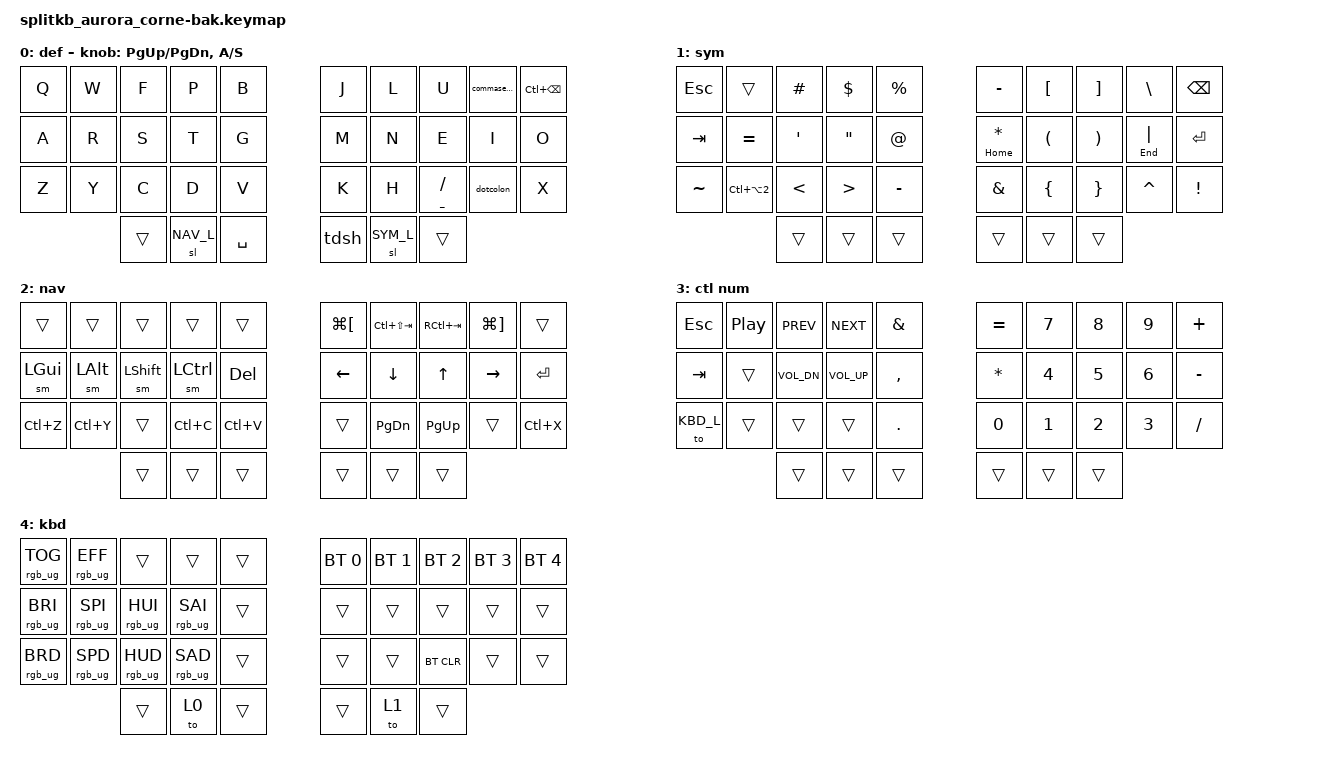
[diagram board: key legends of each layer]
/*
 * Copyright (c) 2020 The ZMK Contributors
 *
 * SPDX-License-Identifier: MIT
 */

#include <behaviors.dtsi>
#include <dt-bindings/zmk/keys.h>
#include <dt-bindings/zmk/bt.h>
#include <dt-bindings/zmk/rgb.h>

#define BASE_L 0
#define SYM_L 1
#define NAV_L 2
#define CTRL_NUM_L 3
#define KBD_L 4





/ {
	chosen {
		zmk,matrix_transform = &five_column_transform;
	};

    behaviors {
        dotcolon: dot_colon {
                      compatible = "zmk,behavior-mod-morph";
                      label = "DOT_COLON";
                      #binding-cells = <0>;
                      bindings = <&kp DOT>, <&kp COLON>;
                      mods = <(MOD_LSFT|MOD_RSFT)>;
        };

        commasemi: comma_semicolo {
                      compatible = "zmk,behavior-mod-morph";
                      label = "COMMA_SEMI";
                      #binding-cells = <0>;
                      bindings = <&kp COMMA>, <&kp SEMI>;
                      mods = <(MOD_LSFT|MOD_RSFT)>;
        };


        hm: homerow_mods {
                compatible = "zmk,behavior-hold-tap";
                label = "HOMEROW_MODS";
                #binding-cells = <2>;
                tapping-term-ms = <200>;
                quick_tap_ms = <0>;
                flavor = "tap-preferred";
                bindings = <&kp>, <&kp>;
        };

        td: tapdance {
                compatible = "zmk,behavior-hold-tap";
                label = "TAPDANCE";
                #binding-cells = <2>;
                tapping-term-ms = <150>;
                quick_tap_ms = <0>;
                flavor = "tap-preferred";
                bindings = <&kp>, <&kp>;
        };

        tdsh: shiftlock_tapdance {
                compatible = "zmk,behavior-tap-dance";
                label = "SHIFTLOCK_TAPDANCE";
                #binding-cells = <0>;
                tapping-term-ms = <130>;
                bindings = <&sk LSHIFT>, <&caps_word>;
        };

		sm: sticky_mod {
			compatible = "zmk,behavior-sticky-key";
			label = "STICK_MOD";
			#binding-cells = <1>;
			release-after-ms = <60000>;
			bindings = <&kp>;
			ignore-modifiers;
		};

        sl_nav: sl_nav {
            label = "SL_NAV";
            compatible = "zmk,behavior-macro";
            #binding-cells = <0>;
            wait-ms = <0>;
            tap-ms = <0>;
            bindings
                = <&macro_tap &kp K_CANCEL>
                , <&macro_press &sl NAV_L>
                , <&macro_pause_for_release>
                , <&macro_release &sl NAV_L>
                ;
        };
    };

	conditional_layers {
		compatible = "zmk,conditional-layers";

		// NAV_L and SYM_L needs to be lower than CTRL_NUM_L
		// "Since higher-numbered layers are processed first, a then-layer should
		// generally have a higher number than its associated if-layers so the
		// then-layer can be accessed when active."
		tri_layer {
			if-layers = <NAV_L SYM_L>;
			then-layer = <CTRL_NUM_L>;
		};
	};

	combos {
		compatible = "zmk,combos";

		/*		KEY POSITIONS SWEEP
		0	1	2	3	4		5	6	7	8	9
		10	11	12	13	14		15	16	17	18	19
		20	21	22	23	24		25	26	27	28	29
					30  31		32	33
		*/
		/*		KEY POSITIONS CORNE (6x3)
		0	1	2	3	4	5		6	7	8	9 	10	11
		12	13	14	15	16	17		18	19  20 	21	22	23
		24 	25	26	27	28	29		30	31	32	33	34	35
					30  31	32		33 	34	35
		*/

	};


	keymap {
			compatible = "zmk,keymap";

			default_layer {

					bindings = <
&kp Q &kp W &kp F &kp P &kp B /*|*/ &kp J &kp L &kp U 				  &commasemi &kp LC(BSPC)
&kp A &kp R &kp S &kp T &kp G /*|*/ &kp M &kp N &kp E 				  &kp I           &kp O
&kp Z &kp Y &kp C &kp D &kp V /*|*/ &kp K &kp H &td UNDERSCORE SLASH  &dotcolon       &kp X
	 &trans &sl NAV_L &kp SPC /*|*/ &tdsh &sl SYM_L &trans
					>;

					sensor-bindings = <&inc_dec_kp PAGE_UP PAGE_DOWN &inc_dec_kp A S>;
					label = " def";
			};

			symbol_layer {
					bindings = <
&kp ESC   &trans         &kp HASH &kp DLLR &kp PRCNT /*|*/ &kp MINUS     &kp LBKT &kp RBKT &kp BSLH     &kp BKSP
&kp TAB   &kp EQUAL      &kp SQT  &kp DQT  &kp AT    /*|*/ &hm HOME STAR &kp LPAR &kp RPAR &hm END PIPE &kp ENTER
&kp TILDE &kp LC(LA(N2)) &kp LT   &kp GT   &kp MINUS /*|*/ &kp AMPS      &kp LBRC &kp RBRC &kp CARET    &kp EXCL
							 &trans &trans &trans    /*|*/ &trans &trans &trans
					>;
					label = " sym";
			};

			nav_layer {
					 bindings = <
&trans &trans &trans &trans &trans 				   /*|*/ &kp LG(LBKT) &kp LC(LS(TAB))  &kp RC(TAB) &kp LG(RBKT) &trans
&sm LGUI  &sm LALT  &sm LSHFT &sm LCTRL &kp DEL    /*|*/ &kp LEFT     &kp DOWN &kp UP &kp RIGHT &kp ENTER
&kp LC(Z) &kp LC(Y) &trans    &kp LC(C)  &kp LC(V) /*|*/ &trans    &kp PG_DN &kp PG_UP &trans &kp LC(X)
							  &trans &trans &trans /*|*/ &trans &trans  &trans
				    >;
					label = " nav";
	        };



			control_num_layer {
					bindings = <
&kp ESC   &kp C_PP &kp C_PREV   &kp C_NEXT   &kp AMPS  /*|*/ &kp EQUAL &kp N7 &kp N8 &kp N9 &kp PLUS
&kp TAB   &trans   &kp C_VOL_DN &kp C_VOL_UP &kp COMMA /*|*/ &kp STAR  &kp N4 &kp N5 &kp N6 &kp MINUS
&to KBD_L &trans   &trans 		&trans 		 &kp DOT   /*|*/ &kp N0    &kp N1 &kp N2 &kp N3 &kp SLASH
								 &trans &trans  &trans /*|*/ &trans &trans &trans
					>;
					label = " ctl num";

			};


			 kbd_layer {
// -----------------------------------------------------------------------------------------
// | | RGB_TOG | RGB_EFF |         |         |  |      |  | BT_0 | BT_1 | BT_2 | BT_3 | BT_4  | |
// | | RGB_BRI | RGB_SPI | RGB_HUI | RGB_SAI |  |      |  |      |      |      |      |       | |
// | | RGB_BRD | RGB_SPD | RGB_HUD | RGB_SAD |  |      |  |      |      |BT_CLR|      |       | |
//                       |         | to 0    |  |      |  |      |      |
                        bindings = <
&rgb_ug RGB_TOG &rgb_ug RGB_EFF &trans          &trans          &trans /*|*/ &bt BT_SEL 0 &bt BT_SEL 1 &bt BT_SEL 2 &bt BT_SEL 3 &bt BT_SEL 4
&rgb_ug RGB_BRI &rgb_ug RGB_SPI &rgb_ug RGB_HUI &rgb_ug RGB_SAI &trans /*|*/ &trans &trans 		&trans 	     &trans       &trans
&rgb_ug RGB_BRD &rgb_ug RGB_SPD &rgb_ug RGB_HUD &rgb_ug RGB_SAD &trans /*|*/ &trans &trans 		&bt BT_CLR   &trans       &trans
                          	    			       &trans &to 0 &trans /*|*/ &trans &to 1 &trans
                        >;
						label = " kbd";
                };
        };
};

/*
/ {
        keymap {
                compatible = "zmk,keymap";

                default_layer {
// -----------------------------------------------------------------------------------------
// |  TAB |  Q  |  W  |  E  |  R  |  T  |   |  Y  |  U   |  I  |  O  |  P  | BKSP |
// | CTRL |  A  |  S  |  D  |  F  |  G  |   |  H  |  J   |  K  |  L  |  ;  |  '   |
// | SHFT |  Z  |  X  |  C  |  V  |  B  |   |  N  |  M   |  ,  |  .  |  /  | ESC  |
//                    | GUI | LWR | SPC |   | ENT | RSE  | ALT |
                        bindings = <
   &kp TAB   &kp Q &kp W &kp E &kp R &kp T   &kp Y &kp U  &kp I     &kp O   &kp P    &kp BSPC
   &kp LCTRL &kp A &kp S &kp D &kp F &kp G   &kp H &kp J  &kp K     &kp L   &kp SEMI &kp SQT
   &kp LSHFT &kp Z &kp X &kp C &kp V &kp B   &kp N &kp M  &kp COMMA &kp DOT &kp FSLH &kp ESC
                  &kp LGUI &mo 1 &kp SPACE   &kp RET &mo 2 &kp RALT
                        >;
                };
                lower_layer {
// -----------------------------------------------------------------------------------------
// |  TAB |  1  |  2  |  3  |  4  |  5  |   |  6  |  7  |  8  |  9  |  0  | BKSP |
// | BTCLR| BT1 | BT2 | BT3 | BT4 | BT5 |   | LFT | DWN |  UP | RGT |     |      |
// | SHFT |     |     |     |     |     |   |     |     |     |     |     |      |
//                    | GUI |     | SPC |   | ENT |     | ALT |
                        bindings = <
   &kp TAB    &kp N1       &kp N2       &kp N3       &kp N4       &kp N5         &kp N6   &kp N7   &kp N8 &kp N9    &kp N0 &kp BSPC
   &bt BT_CLR &bt BT_SEL 0 &bt BT_SEL 1 &bt BT_SEL 2 &bt BT_SEL 3 &bt BT_SEL 4   &kp LEFT &kp DOWN &kp UP &kp RIGHT &trans &trans
   &kp LSHFT  &trans       &trans       &trans       &trans       &trans         &trans   &trans   &trans &trans    &trans &trans
                          	        &kp LGUI     &trans       &kp SPACE      &kp RET  &trans   &kp RALT
                        >;
                };

                raise_layer {
// -----------------------------------------------------------------------------------------
// |  TAB |  !  |  @  |  #  |  $  |  %  |   |  ^  |  &  |  *  |  (  |  )  | BKSP |
// | CTRL |     |     |     |     |     |   |  -  |  =  |  [  |  ]  |  \  |  `   |
// | SHFT |     |     |     |     |     |   |  _  |  +  |  {  |  }  | "|" |  ~   |
//                    | GUI |     | SPC |   | ENT |     | ALT |
                        bindings = <
   &kp  TAB  &kp EXCL &kp AT &kp HASH &kp DLLR &kp PRCNT   &kp CARET &kp AMPS  &kp KP_MULTIPLY &kp LPAR &kp RPAR &kp BSPC
   &kp LCTRL &trans   &trans &trans   &trans   &trans      &kp MINUS &kp EQUAL &kp LBKT        &kp RBKT &kp BSLH &kp GRAVE
   &kp LSHFT &trans   &trans &trans   &trans   &trans      &kp UNDER &kp PLUS  &kp LBRC        &kp RBRC &kp PIPE &kp TILDE
                    	     &kp LGUI &trans   &kp SPACE   &kp RET   &trans    &kp RALT
                        >;
                };
        };
};
*/
